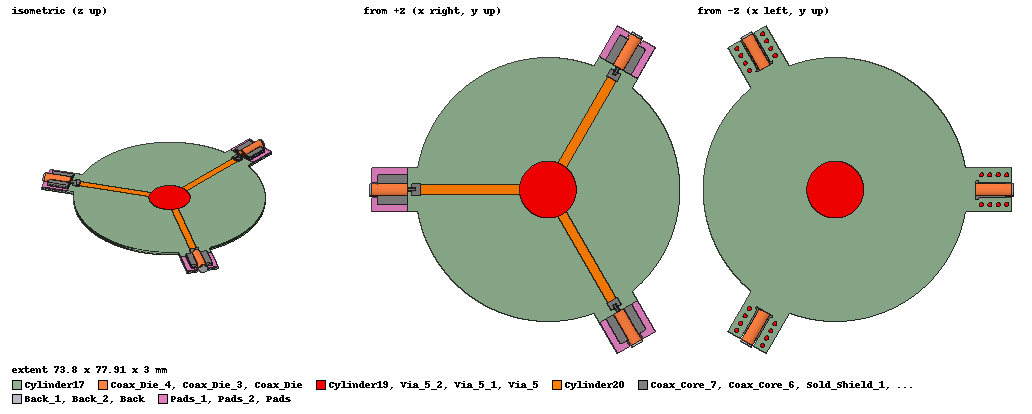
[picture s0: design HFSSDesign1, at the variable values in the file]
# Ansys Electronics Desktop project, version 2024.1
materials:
  vacuum: permittivity=1
  Sub1: permittivity=3.5 dielectric_loss_tangent=0.0009
  Teflon (tm): permittivity=2.1 dielectric_loss_tangent=0.001
  copper: permeability=0.999991 conductivity=58000000
  pec: conductivity=1e+30
  FR4_epoxy: permittivity=4.4 dielectric_loss_tangent=0.02
  polyester: permittivity=3.2 dielectric_loss_tangent=0.003
  ferrite: permittivity=12 permeability=1000 conductivity=0.01

design HFSSDesign1 (HFSS, HFSS Modal Network, model units mm)
options: Allow_Material_Override Save_Adaptive_support_files
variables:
  AngArc1 = pi - 2* (9.3deg)
  RoutArc1 = RinArc1 + Warc1
  W1 = 1.82mm
  P1x = -RinArc1*sin((pi-AngArc1)/2) - W1
  P1y = RinArc1*cos((pi-AngArc1)/2)
  L1 = 31.121mm
  z1 = h_sub1
  Warc1 = 1.82mm
  RinArc1 = 39.2mm
  NumOfSeg = 250
  L2 = (7.135 + 0.09513021275 + 0.13/2) mm
  P5x = P4x + (W4-Wpad)/2
  Wpad = 2.8mm
  P4y = P3y + L3
  P3x = P2x - L2
  P3y = P2y
  W2 = 1.81mm
  P2x = P1x  + W1
  L3 = 2.72mm
  P4x = P3x + (W3-W4)/2
  Lpad = 2mm
  W3 = 2.11mm
  P5y = P4y + L4
  P2y = P1y + L1 - W2
  L4 = (6.92 - 0.4857440831 + 1.5) mm
  W4 = 1.53mm
  RoutRingB = 5mm
  A2y = -4.7mm
  A1x = RoutRingB - 0.8mm
  La1 = (2.6 + 0.5 + 1.35) mm
  A2x = A1x + La1
  Wa2 = 6.7mm
  Lport = 16mm
  Tport = 0.1mm
  Wport = 8mm
  Tcu = 35um
  h_sub1 = 0.8mm
  AngArc2 = pi - 2* (36.62deg)
  RinArc2 = 79.2mm
  RoutArc2 = RinArc2 + Warc2
  Warc2 = 1.82mm
  W6 = 1.9mm
  L6 = (7.7 - 0.4) mm
  P7x = P6x  + W6
  P7y = P6y + L6 - W7
  P6x = -RinArc2*sin((pi-AngArc2)/2) - W6
  P6y = RinArc2*cos((pi-AngArc2)/2)
  W8 = 2.11mm
  P8y = P7y
  W7 = 1.81mm
  P9y = P8y + L8
  L9 = (7.36 - 0.4866569197) mm
  P10x = P9x + (W9-Wpad)/2
  L8 = 2.72mm
  P10y = P9y + L9
  L7 = (6.94 - 0.7532019242) mm
  P9x = P8x + (W8-W9)/2
  P8x = P7x - L7
  W9 = 1.53mm
  Gap_via_gnd = 2mm
  h_via_gnd = h_sub1
  r_via_gnd = 0.5mm
  A7y = A2y
  A7x = A2x + 4.08mm
  Wa7 = 1.41mm
  A10y = A9y - La9
  A8x = A7x + Wa7
  A9x = A8x
  La9 = 0.363mm
  La10 = 3.417mm
  Vx = A10x + Wa10/2
  A10x = A9x
  A8y = A7y
  La8 = 12mm
  Rvia = 0.5mm
  Vy = A10y - La10 +  Rvia + 0.51mm
  Wa10 = 2.01mm
  A9y = A8y - La8
  r_cent_hole = 3.125mm
  r_via_stub = Rvia
  T_cu = Tcu
  w_cut = 0.5mm
  l_cut_2 = (3.2 + 1) mm
  l_cut = (3.6+1) mm
  l_coax = 8.5mm
  r_die = (3/2) mm
  w_sep = 1mm
  r_core = (0.9/2) mm
  w_pad = Wpad
  l_ext_core = 2mm
  l_pad = Lpad
  RinRingB = 3.625mm
  Wa1 = 5.63mm
  A1y = -Wa1/2
  A4y = 18.55mm
  A5y = A4y - La4
  A6y = A2y
  La5 = 4.43mm
  Wa5 = 1.18mm
  Wa3 = 1.33mm
  La3 = 6.82mm
  Wa4 = 1.54mm
  La4 = 1.73mm
  La6 = 7.81mm
  A4x = A2x + Wa2
  Wa6 = 0.77mm
  A3x = A2x
  La2 = 31.18mm
  A5x = A4x
  A3y = A2y + La2
  A6x = A2x + Wa2
  Wa8 = 0.77mm
  M1x = A7x - Wm1
  M1y = A7y
  Wm1 = 2.3mm
  Lm1 = 40mm
  M2x = M6x + Wm6
  Wa9 = 1.2mm
  La7 = 3.41mm
  M2y = M6y - Lm6
  Wm2 = 1.876mm
  Lm2 = 6.1725mm + (M6x - 11.27mm)
  Wm3 = 2.015mm
  M4y = M3y - Lm3
  Lm4 = 6.213mm + (M3y - (-66.924mm))
  M5x = M4x + (Wm4-Wm5)/2
  Lm5 = Lpad
  M3x = M2x - Lm2
  N1y = A2y + La2
  Wn1 = 4.2mm
  N2x = 13.6mm
  Ln2 = N18x - Ln18 - N3x
  M4x = M3x + (Wm3-Wm4)/2
  M5y = M4y - Lm4
  N1x = A2x + (Wa2-Wn1)/2
  Wm4 = 1.53mm
  Ln1 = 9mm
  M3y = M2y + Wm2
  Wm5 = Wpad
  N2y = N18y - (Wn18-Wn2)/2
  Lm3 = 5.513mm
  N5y = N4y + Ln4
  Ln4 = 78.65mm - (N3y + Ln3)
  N3y = N2y - Wn2
  Wn2 = Wn18
  Ln5 = Lpad
  Wn6 = Wn1
  N5x = N4x + (Wn4-Wn5)/2
  N6y = N1y + Ln1
  N6x = N1x + Wn1
  N3x = 7.925mm - Wn3/2
  Ln6 = 8mm
  N4x = N3x + (Wn3-Wn4)/2
  Wn4 = 1.529mm
  N4y = N3y + Ln3
  Wn3 = 2.1mm
  Ln3 = 5.57mm
  Wn5 = Wpad
  z2 = z1 + Gap
  Gap = 2*Tcu + Th_Sabz
  l_sub1 = 181.5mm
  rad_gap = 10mm
  Th_Part2 = 1mm
  Rotation_Angle = 41deg
  Th_Sabz = 24um
  Scale_Factor_Part2 = 0.25806
  w_sub1 = (110 + 2) mm
  RoutRingU = RoutRingB
  RinRingU = RinRingB
  RoutArc3 = RoutArc1
  AngArc3 = (19.5*2) deg
  S3x = -(RoutArc3 - 0.5mm)
  S3y = -Ws3/2
  AngArc4 = (11*2) deg
  RoutArc4 = RoutArc2
  S4x = S3x - Ls3
  S4y = S3y + Ws3
  Ls4 = 12mm
  Ws4 = Ws3
  S5x = S4x + Ws4
  RinArc3 = RinArc1
  S5y = S4y - Ls4
  Ls3 = (5 + 0.5) mm
  Ws3 = 2.25mm
  RinArc4 = RinArc2
  Ls9 = 13.25mm
  S6y = S5y
  S7y = S6y + Ls6
  Ls8 = S7y
  Ls6 = -2*S5y
  Ws5 = Ws3
  Ws6 = Ws3
  S7x = S6x + Ws6
  Ws7 = Ws3
  Ls5 = 9mm
  Ls7 = Ls5
  S8y = S7y
  Ws8 = Ws3
  S8x = S7x - Ls7
  S9x = S8x - (Ws9-Ws8)/2
  S9y = 0
  S6x = S5x - Ls5
  Ws9 = 3.9mm
  Ls12 = Ls10
  Ws35 = Ws29
  Ws12 = Ws9
  S13y = S12y
  S12y = S11y + Ls11
  S11x = S10x - Ls10
  S11y = S10y
  S30y = S29y + Ws29
  Ls14 = (6 + 4) mm
  Ws31 = Ws29
  Ls32 = 2*Ls30 - Ws33
  Ls33 = Ls31
  S12x = S11x + Ws11
  Ls10 = 10.5mm
  S10x = S9x + Ws9
  S29x = -(RoutRingU - 1mm)
  Ws30 = Ws29
  S31y = S30y - Ls30
  S33x = S32x + Ws32
  S34y = S33y
  Ws34 = Ws29
  S10y = S9y - Ls9
  Ws29 = 5.5mm
  Ls35 = 9.6mm
  S35y = -Ws35/2
  Ws11 = Ws9
  Ws14 = 2.1mm
  Ws10 = Ws9
  S34x = S33x - Ls33
  S14y = -Ws14/2
  Ls11 = -2*S11y
  S29y = -Ws29/2
  S14x = S13x + Ws13
  Ls31 = 16mm
  S30x = S29x - Ls29
  Ls13 = Ls11/2
  Ls29 = 7.3mm
  S32y = S31y
  S32x = S31x - Ls31
  Ws32 = Ws29
  Ws13 = Ws9
  Ws33 = Ws29
  S33y = S32y + Ls32
  S13x = S12x - Ls12
  Ls34 = Ls32/2
  Ls30 = 12mm
  S31x = S30x + Ws30
  S36y = -Ws36/2
  S36x = S35x - Ls35
  Ws36 = 2.736mm
  S35x = S34x + Ws34
  Ls36 = 3mm
  M6x = M1x - (Wm6-Wm1)/2
  M6y = M1y - Lm1
  Wm6 = 1.82mm
  Lm6 = 64.1mm - Lm1
  N7x = N6x - Ln6
  N7y = N6y - Wn6
  Wn7 = Wn1
  Ln7 = 14mm
  N8x = N7x
  N8y = N7y + Ln7
  Ln8 = 19mm - N8x
  Wn8 = Wn1
  N9x = N8x + Ln8
  N9y = N8y - Wn8
  Ln9 = 10mm
  Wn9 = 1.8mm
  N10x = N9x
  N10y = N9y + Ln9
  Ln10 = N10x - 12mm
  Wn10 = Wn9
  N11x = N10x - Ln10
  N11y = N10y - Wn10
  Wn11 = Wn9
  Ln11 = 7mm
  N12x = N11x
  N12y = N11y + Ln11
  Ln12 = Ln10
  Wn12 = Wn9
  N13x = N12x + Ln12
  N13y = N12y - Wn12
  Wn13 = Wn9
  Ln13 = Ln11
  N14x = N13x
  N14y = N13y + Ln13
  Ln14 = Ln10
  Wn14 = Wn9
  N15x = N14x - Ln14
  N15y = N14y - Wn14
  Wn15 = Wn9
  Ln15 = Ln11
  N16x = N15x
  N16y = N15y + Ln15
  Ln16 = Ln10
  Wn16 = Wn9
  N17x = N16x + Ln16
  N17y = N16y - Wn16
  Wn17 = Wn9
  Ln17 = Ln11
  N18x = N17x
  N18y = N17y + Ln17
  Ln18 = N18x - N2x
  Wn18 = Wn9
  h1_sub = 20.5mm
  h2_sub = 40mm
  l1_sub = 157.3mm
  l2_sub = 157.3mm
  l3_sub = 157.3mm
  X1 = 7.875mm
  Y1 = -78.65mm
  X2 = X1-h1_sub
  Y2 = Y1
  X3 = X2-h2_sub
  Y3 = Y2
  h_up_sub = 20mm
  h3_sub = 40mm
  h4_sub = 2mm
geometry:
  Sold_Shield [copper] = box(corner=(-82.5343mm, -56.4403mm, h_sub1), size=(-6.9657005mm, 2.4403mm, 1mm))
  Sold_Shield.move(171.25mm, 66.1653mm-0.7mm, 0)
  Coax_Die [Teflon (tm)] = cylinder(axis=Y, base_centre=(0mm, 0mm, 0mm), radius=r_die, height=-l_coax)
  Coax_Core1 = cylinder(axis=Y, base_centre=(0mm, 0mm, 0mm), radius=r_core, height=-l_coax)
  Coax_Core_5 = Coax_Core1.copy()
  Coax_Die.subtract(Coax_Core_5)
  Coax_Die.rotate(axis=Z, angle=270deg)
  Coax_Die.move(-81.098618mm, -53.15453mm, 0.46mm)
  Coax_Die.move(-1mm, 0mm, 0mm)
  Coax_Die.mirror(point=(0mm, 0mm, 0mm), normal=(1mm, 0mm, 0mm))
  Coax_Die.move(-1.348618446841mm+w_sep, 61.07953mm, 0.79mm)
  Coax_Die_1 = Coax_Die.copy()
  Sold_Shield.subtract(Coax_Die_1)
  Coax_Core1.delete()
  Sold_Shield.rotate(axis=Z, angle=-90deg)
  Coax_Die_2 = Coax_Die.copy()
  Coax_Die.rotate(axis=Z, angle=-90deg)
  Coax_Core [copper] = cylinder(axis=Y, base_centre=(0mm, 0mm, 0mm), radius=r_core, height=-l_coax)
  Coax_Core.rotate(axis=Z, angle=270deg)
  Coax_Core.move(-81.098618mm, -53.15453mm, 0.46mm)
  Coax_Core.move(-1mm, 0mm, 0mm)
  Coax_Core.mirror(point=(0mm, 0mm, 0mm), normal=(1mm, 0mm, 0mm))
  Coax_Core.move(-1.348618446841mm+w_sep, 61.07953mm, 0.79mm)
  Ext_Core = cylinder(axis=Y, base_centre=(0mm, 0, 0), radius=r_core, height=l_ext_core)
  Ext_Core.rotate(axis=Z, angle=90deg)
  Ext_Core.move(81.75mm, 7.925mm, 1.25mm)
  Coax_Core.unite(Ext_Core)
  Sold = rectangle(corner=(-l_pad/2, -w_pad/2, h_sub1), x_size=l_pad, y_size=w_pad)
  Sold.move(79.65mm, 7.925mm, 0mm)
  Sep_Sold = rectangle(corner=(90.25mm, -57.375mm, h_sub1), x_size=-w_sep, y_size=10mm)
  Sep_Sold.move(-8.5mm, 60.3mm, 0mm)
  Sep1_4 = Sep_Sold.duplicate_along_line(step=(-162.5mm, 1.7763568e-14mm, 0mm), total=2)
  Sep_Sold.unite(Sep1_4)
  Sold.subtract(Sep_Sold)
  Sold.thicken(r_core)
  Coax_Core.unite(Sold)
  Coax_Core.rotate(axis=Z, angle=-90deg)
  Sold_Shield1 [copper] = box(corner=(-82.5343mm, -56.4403mm, h_sub1), size=(-6.9657005mm, 2.4403mm, 1mm))
  Sold_Shield1.move(171.25mm, 66.1653mm-0.7mm-3.6mm-1mm, 0)
  Sold_Shield1.subtract(Coax_Die_2)
  Sold_Shield1.rotate(axis=Z, angle=-90deg)
  Back [pec] = cylinder(axis=Y, base_centre=(7.925mm, -90.25mm, 1.25mm), radius=r_die, height=-0.5mm)
  Pads = rectangle(corner=(13.125mm, -90.25mm, 0.8mm), x_size=-3.4mm, y_size=8mm)
  Rectangle2 = rectangle(corner=(13.125mm, -81.75mm, 0.8mm), x_size=-2.9mm, y_size=-0.5mm)
  Pads.unite(Rectangle2)
  Rectangle1_1 = Pads.duplicate_mirror(point=(13.125mm, -90.25mm, 0.8mm), normal=(-1mm, 0mm, 0mm))
  Rectangle1_1.move(-10.4mm, 0mm, 0mm)
  Pads.unite(Rectangle1_1)
  Via_5 [copper] = cylinder(axis=Z, base_centre=(11.425mm, -89mm, 0.8mm), radius=0.5mm, height=-0.8mm)
  Cylinder2 = cylinder(axis=Z, base_centre=(11.425mm, -87mm, 0mm), radius=0.5mm, height=0.8mm)
  Cylinder3 = cylinder(axis=Z, base_centre=(11.425mm, -85mm, 0mm), radius=0.5mm, height=0.8mm)
  Cylinder4 = cylinder(axis=Z, base_centre=(11.425mm, -83mm, 0.8mm), radius=0.5mm, height=-0.8mm)
  Cylinder5 = cylinder(axis=Z, base_centre=(4.375mm, -89mm, 0.8mm), radius=0.5mm, height=-0.8mm)
  Cylinder6 = cylinder(axis=Z, base_centre=(4.375mm, -87mm, 0.8mm), radius=0.5mm, height=-0.8mm)
  Cylinder7 = cylinder(axis=Z, base_centre=(4.375mm, -85mm, 0mm), radius=0.5mm, height=0.8mm)
  Cylinder8 = cylinder(axis=Z, base_centre=(4.375mm, -83mm, 0.8mm), radius=0.5mm, height=-0.8mm)
  Via_5.unite(Cylinder2..Cylinder8)
  Box1 = box(corner=(13.125mm, -90.25mm, 0mm), size=(-3.4mm, 8mm, 0.8mm))
  Box2 = box(corner=(13.125mm, -82.25mm, 0mm), size=(-2.9mm, 0.5mm, 0.8mm))
  Box1.unite(Box2)
  Box1_1 = Box1.duplicate_mirror(point=(13.125mm, -90.25mm, 0.8mm), normal=(-1mm, 0mm, 0mm))
  Box1_1.move(-10.4mm, 0mm, 0mm)
  Box3 = box(corner=(13.125mm, -81.75mm, 0mm), size=(-10.5mm, 3.1mm, 0.8mm))
  Box1.unite(Box1_1, Box3)
  Box4 = box(corner=(2.625mm, -90.25mm, 0mm), size=(0.1mm, 8.5mm, 0.8mm))
  Box1.unite(Box4)
  Cylinder9 = cylinder(axis=Z, base_centre=(11.425mm, -89mm, 0.8mm), radius=0.5mm, height=-0.8mm)
  Cylinder10 = cylinder(axis=Z, base_centre=(11.425mm, -87mm, 0.8mm), radius=0.5mm, height=-0.8mm)
  Cylinder11 = cylinder(axis=Z, base_centre=(11.425mm, -85mm, 0.8mm), radius=0.5mm, height=-0.8mm)
  Cylinder12 = cylinder(axis=Z, base_centre=(11.425mm, -83mm, 0.8mm), radius=0.5mm, height=-0.8mm)
  Cylinder13 = cylinder(axis=Z, base_centre=(4.375mm, -89mm, 0.8mm), radius=0.5mm, height=-0.8mm)
  Cylinder14 = cylinder(axis=Z, base_centre=(4.375mm, -87mm, 0.8mm), radius=0.5mm, height=-0.8mm)
  Cylinder15 = cylinder(axis=Z, base_centre=(4.375mm, -85mm, 0.8mm), radius=0.5mm, height=-0.8mm)
  Cylinder16 = cylinder(axis=Z, base_centre=(4.375mm, -83mm, 0.8mm), radius=0.5mm, height=-0.8mm)
  Cylinder9.unite(Cylinder10..Cylinder16)
  Box1.subtract(Cylinder9)
  Cylinder17 [FR4_epoxy] = cylinder(axis=Z, base_centre=(0mm, 0mm, 0mm), radius=31.35mm, height=0.8mm)
  Cylinder18 = cylinder(axis=Z, base_centre=(0mm, 0mm, 0mm), radius=(13.5/2) mm, height=0.8mm)
  Cylinder17.subtract(Cylinder18)
  Cylinder19 [FR4_epoxy] = cylinder(axis=Z, base_centre=(0mm, 0mm, 0mm), radius=(13.5/2) mm, height=0.88mm)
  Cylinder20 [copper] = cylinder(axis=Z, base_centre=(0mm, 0mm, 0.8mm), radius=(13.5/2) mm, height=0.035mm)
  Box5 = box(corner=(0mm, (-2.3/2) mm, 0.8mm), size=(-31.6mm, 2.3mm, 0.035mm))
  Box5_1 = Box5.duplicate_around_axis(axis=Z, angle=120deg, total=2)
  Box5_2 = Box5.duplicate_around_axis(axis=Z, angle=-120deg, total=2)
  [Sold_Shield, Coax_Die, Coax_Core, Sold_Shield1, Back, Pads, Via_5, Box1].move(-7.875mm, 48.3mm, 0mm)
  [Sold_Shield, Coax_Die, Coax_Core, Sold_Shield1, Back, Pads, Via_5, Box1].rotate(axis=Z, angle=-90deg)
  Sold_Shield_1 [copper] = Sold_Shield.duplicate_around_axis(axis=Z, angle=-120deg, total=2)
  Coax_Die_3 [Teflon (tm)] = Coax_Die.duplicate_around_axis(axis=Z, angle=-120deg, total=2)
  Coax_Core_6 [copper] = Coax_Core.duplicate_around_axis(axis=Z, angle=-120deg, total=2)
  Sold_Shield1_1 [copper] = Sold_Shield1.duplicate_around_axis(axis=Z, angle=-120deg, total=2)
  Back_1 [pec] = Back.duplicate_around_axis(axis=Z, angle=-120deg, total=2)
  Pads_1 = Pads.duplicate_around_axis(axis=Z, angle=-120deg, total=2)
  Via_5_1 [copper] = Via_5.duplicate_around_axis(axis=Z, angle=-120deg, total=2)
  Box1_2 = Box1.duplicate_around_axis(axis=Z, angle=-120deg, total=2)
  Sold_Shield_2 [copper] = Sold_Shield.duplicate_around_axis(axis=Z, angle=120deg, total=2)
  Coax_Die_4 [Teflon (tm)] = Coax_Die.duplicate_around_axis(axis=Z, angle=120deg, total=2)
  Coax_Core_7 [copper] = Coax_Core.duplicate_around_axis(axis=Z, angle=120deg, total=2)
  Sold_Shield1_2 [copper] = Sold_Shield1.duplicate_around_axis(axis=Z, angle=120deg, total=2)
  Back_2 [pec] = Back.duplicate_around_axis(axis=Z, angle=120deg, total=2)
  Pads_2 = Pads.duplicate_around_axis(axis=Z, angle=120deg, total=2)
  Via_5_2 [copper] = Via_5.duplicate_around_axis(axis=Z, angle=120deg, total=2)
  Box1_3 = Box1.duplicate_around_axis(axis=Z, angle=120deg, total=2)
  Cylinder17.unite(Box1_3, Box1_2, Box1)
  Cylinder20.unite(Box5_2, Box5_1, Box5)
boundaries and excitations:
  Shields: Perfect E Faces=Coax_Die.face(at (-37.7, -0.05, -0.25))
  PerfE: Perfect E Objects=Pads
  Shields1: Perfect E Faces=Coax_Die_3.face(at (18.8067, 32.6742, -0.25))
  PerfE1: Perfect E Objects=Pads_1
  Shields2: Perfect E Faces=Coax_Die_4.face(at (18.8933, -32.6242, -0.25))
  PerfE2: Perfect E Objects=Pads_2
  Ground: Perfect E Faces=Cylinder17.face(-z end) Cylinder19.face(-z end)
  1: Wave Port Faces=Coax_Die.face(at (-41.95, -0.05, 1.25)) WavePortType=Modal NumModes=1 Modes{Mode1{IntLine{(-41.95, -0.05, 1.7) -> (-41.95, -0.05, 2.75)} CharImp=Zpi}}
  3: Wave Port Faces=Coax_Die_3.face(at (20.9317, 36.3548, 1.25)) WavePortType=Modal NumModes=1 Modes{Mode1{IntLine{(20.931699, 36.354766, 1.7) -> (20.931699, 36.354766, 2.75)} CharImp=Zpi}}
  2: Wave Port Faces=Coax_Die_4.face(at (21.0183, -36.3048, 1.25)) WavePortType=Modal NumModes=1 Modes{Mode1{IntLine{(21.018301, -36.304766, 1.7) -> (21.018301, -36.304766, 2.75)} CharImp=Zpi}}
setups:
  Setup1: HfssDriven Frequency=20GHz MaxDeltaS=0.02 MaximumPasses=10 MinimumPasses=1 MinimumConvergedPasses=1 PercentRefinement=30 BasisOrder=1 PortAccuracy=2 DrivenSolverType="Direct Solver"
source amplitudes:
  1:1: 1W 0deg
  3:1, 2:1: 0W 0deg
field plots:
  Mag_E1: E Field in Cylinder17 on Setup1 : LastAdaptive at Freq=20GHz Phase=0deg
